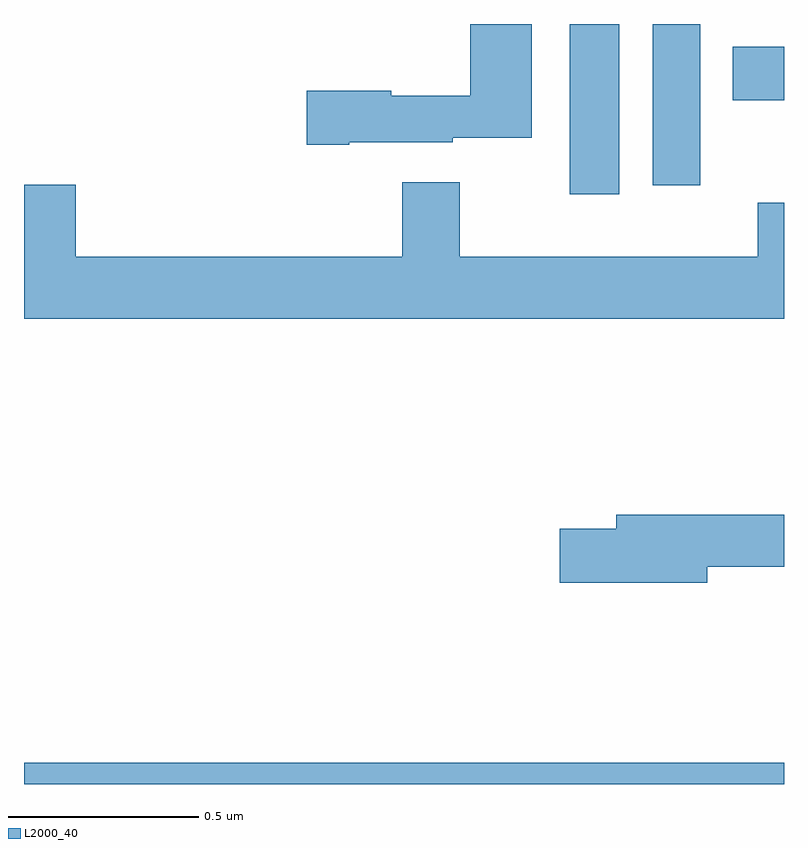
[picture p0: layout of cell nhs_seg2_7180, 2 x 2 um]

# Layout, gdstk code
import gdstk
lib = gdstk.Library(unit=1e-6, precision=1e-09)
def R(c, l, rs):  # rectangles x0, y0, x1, y1
    for r in rs: c.add(gdstk.rectangle(r[:2], r[2:], *l))
def P(c, l, *ps):  # polygons
    for p in ps: c.add(gdstk.Polygon(p, *l))
L2000_40 = (2000, 40)

nhs_seg2_7180 = lib.new_cell('nhs_seg2_7180')
R(nhs_seg2_7180, L2000_40, [(201,591.8,203,591.856), (202.436,593.352,202.567,593.8), (202.655,593.376,202.78,593.8), (202.865,593.6,203,593.74)])
P(nhs_seg2_7180, L2000_40, [(201.856,593.489),(202.128,593.489),(202.128,593.501),(202.336,593.501),(202.336,593.8),(202.174,593.8),(202.174,593.611),(201.966,593.611),(201.966,593.624),(201.744,593.624),(201.744,593.482),(201.856,593.482)],
  [(203,593.329),(202.931,593.329),(202.931,593.188),(202.147,593.188),(202.147,593.383),(201.995,593.383),(201.995,593.188),(201.136,593.188),(201.136,593.377),(201,593.377),(201,593.024),(203,593.024)],
  [(202.798,592.372),(203,592.372),(203,592.508),(202.559,592.508),(202.559,592.472),(202.41,592.472),(202.41,592.33),(202.798,592.33)])

lib.write_gds('nhs_seg2_7180.gds')
